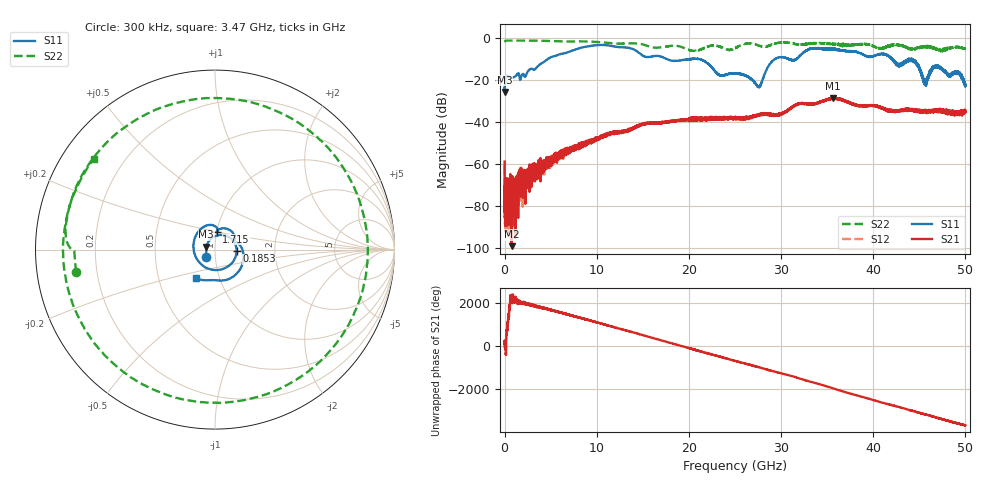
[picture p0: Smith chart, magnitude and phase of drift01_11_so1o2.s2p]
!Created with skrf (http://scikit-rf.org).
# Hz S RI R 50.0
!freq ReS11 ImS11 ReS21 ImS21 ReS12 ImS12 ReS22 ImS22
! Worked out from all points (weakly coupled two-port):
!   10001 points, 300 kHz to 50 GHz, reference 50 ohm
!   highest |S21| = -28.79 dB at 35.63 GHz (marker M1); lowest = -99.4 dB at 755.3 MHz (marker M2)
!   lowest |S11| = -25.8 dB at 5.3 MHz (marker M3), VSWR 1.11, Z = 45.3 + j1.43 ohm
!   |S11| at or under -10 dB: start of sweep to 4.763 GHz; 17.5 GHz to 29.42 GHz (11.92 GHz wide, 50.8 % of centre); 42.08 GHz to end of sweep (the widest 3 of 10)
!   |S22| runs from -6.6 to -1.4 dB; largest |S21 - S12| = 0.0039
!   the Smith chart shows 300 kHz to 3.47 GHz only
!   S11 on the Smith chart (normalised r, x): 300 kHz: 0.90, -0.08; 185.3 MHz: 1.27, -0.02; 1.715 GHz: 1.00, +0.20; 3.47 GHz: 0.77, -0.26
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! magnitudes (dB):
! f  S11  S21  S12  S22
! 300 kHz  -23.9  -59.1  -61.0  -2.1
! 5.3 MHz  -25.8  -83.0  -78.1  -2.1
! 185.3 MHz  -18.4  -70.4  -72.1  -1.4
! 755.3 MHz  -19.0  -99.4  -82.6  -1.5
! 1.715 GHz  -20.0  -68.4  -74.8  -1.4
! 3.47 GHz  -14.3  -61.9  -66.0  -1.5
! 8.335 GHz  -4.8  -51.7  -51.3  -1.8
! 16.67 GHz  -8.7  -40.6  -40.4  -4.8
! 21.15 GHz  -10.3  -38.5  -38.4  -5.8
! 25 GHz  -17.0  -38.6  -38.4  -5.1
! 27.59 GHz  -23.6  -36.6  -36.8  -3.9
! 29.27 GHz  -10.4  -37.0  -36.9  -2.9
! 31.45 GHz  -10.7  -32.5  -32.6  -3.0
! 33.34 GHz  -5.2  -31.8  -31.6  -2.8
! 35.63 GHz  -5.7  -28.8  -29.0  -3.1
! 41.67 GHz  -8.9  -34.6  -34.5  -4.1
! 42.74 GHz  -12.7  -34.7  -34.8  -3.4
! 44.42 GHz  -11.2  -35.0  -34.6  -5.2
! 45.63 GHz  -20.6  -34.9  -35.0  -4.2
! 46.99 GHz  -13.6  -34.2  -34.7  -5.9
! 49.2 GHz  -16.3  -36.1  -35.9  -4.4
! 50 GHz  -22.5  -35.4  -34.8  -5.5
